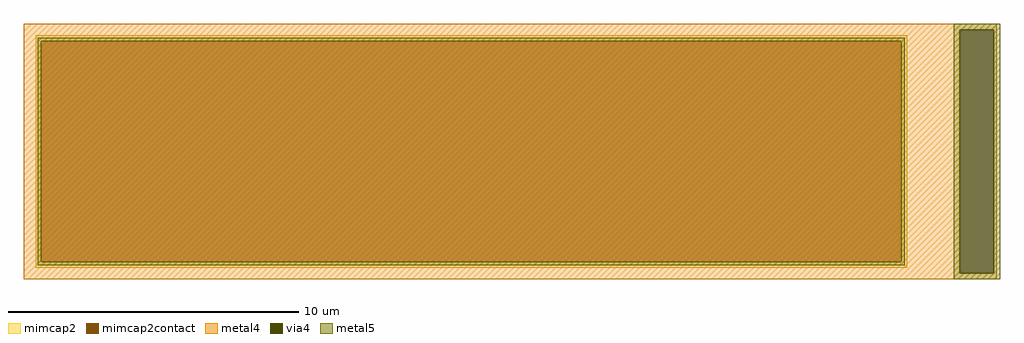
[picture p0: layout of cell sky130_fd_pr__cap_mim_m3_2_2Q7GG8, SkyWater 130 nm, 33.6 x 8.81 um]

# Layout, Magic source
magic
tech sky130A
magscale 1 2
<< metal4 >>
rect -3349 839 3349 880
rect -3349 -839 3093 839
rect 3329 -839 3349 839
rect -3349 -880 3349 -839
<< via4 >>
rect 3093 -839 3329 839
<< mimcap2 >>
rect -3269 760 2731 800
rect -3269 -760 -3229 760
rect 2691 -760 2731 760
rect -3269 -800 2731 -760
<< mimcap2contact >>
rect -3229 -760 2691 760
<< metal5 >>
rect 3051 839 3371 881
rect -3253 760 2715 784
rect -3253 -760 -3229 760
rect 2691 -760 2715 760
rect -3253 -784 2715 -760
rect 3051 -839 3093 839
rect 3329 -839 3371 839
rect 3051 -881 3371 -839
<< properties >>
string FIXED_BBOX -3349 -880 2811 880
string gencell sky130_fd_pr__cap_mim_m3_2
string library sky130
string parameters w 30 l 8 val 494.44 carea 2.00 cperi 0.19 nx 1 ny 1 dummy 0 square 0 lmin 2.00 wmin 2.00 lmax 30.0 wmax 30.0 dc 0 bconnect 1 tconnect 1 ccov 100
<< end >>
